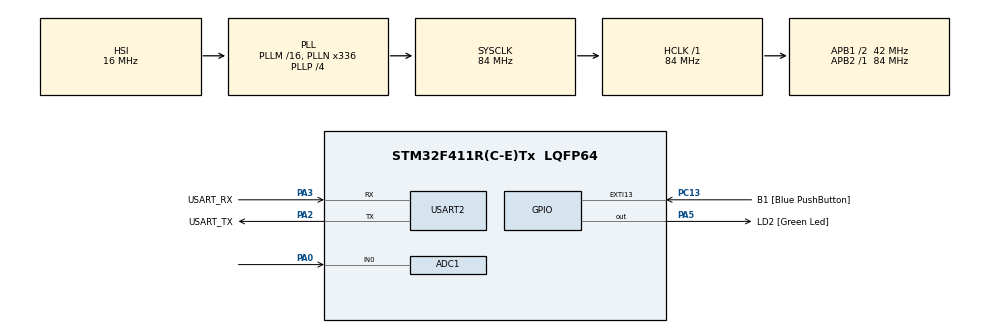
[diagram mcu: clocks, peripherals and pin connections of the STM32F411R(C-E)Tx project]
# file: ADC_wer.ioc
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ADC1.Channel-0\#ChannelRegularConversion=ADC_CHANNEL_0
ADC1.ContinuousConvMode=ENABLE
ADC1.NbrOfConversionFlag=1
ADC1.Rank-0\#ChannelRegularConversion=1
ADC1.SamplingTime-0\#ChannelRegularConversion=ADC_SAMPLETIME_84CYCLES
ADC1.ScanConvMode=ENABLE
ADC1.master=1
Mcu.Family=STM32F4
Mcu.Name=STM32F411R(C-E)Tx
Mcu.Package=LQFP64
NVIC.PriorityGroup=NVIC_PRIORITYGROUP_0
PA0-WKUP.Signal=ADCx_IN0
PA13.GPIO_Label=TMS
PA13.Mode=Serial_Wire
PA13.Signal=SYS_JTMS-SWDIO
PA14.GPIO_Label=TCK
PA14.Mode=Serial_Wire
PA14.Signal=SYS_JTCK-SWCLK
PA2.GPIO_Label=USART_TX
PA2.Mode=Asynchronous
PA2.Signal=USART2_TX
PA3.GPIO_Label=USART_RX
PA3.Mode=Asynchronous
PA3.Signal=USART2_RX
PA5.GPIO_Label=LD2 [Green Led]
PA5.Signal=GPIO_Output
PB3.GPIO_Label=SWO
PB3.Signal=SYS_JTDO-SWO
PC13-ANTI_TAMP.GPIO_Label=B1 [Blue PushButton]
PC13-ANTI_TAMP.GPIO_ModeDefaultEXTI=GPIO_MODE_IT_FALLING
PC13-ANTI_TAMP.Signal=GPXTI13
PC14-OSC32_IN.Mode=LSE-External-Oscillator
PC14-OSC32_IN.Signal=RCC_OSC32_IN
PC15-OSC32_OUT.Mode=LSE-External-Oscillator
PC15-OSC32_OUT.Signal=RCC_OSC32_OUT
PH0\ -\ OSC_IN.Mode=HSE-External-Clock-Source
PH0\ -\ OSC_IN.Signal=RCC_OSC_IN
PH1\ -\ OSC_OUT.Mode=HSE-External-Clock-Source
PH1\ -\ OSC_OUT.Signal=RCC_OSC_OUT
ProjectManager.HeapSize=0x200
ProjectManager.StackSize=0x400
ProjectManager.TargetToolchain=STM32CubeIDE
RCC.48MHZClocksFreq_Value=84000000
RCC.AHBFreq_Value=84000000
RCC.APB1CLKDivider=RCC_HCLK_DIV2
RCC.APB1Freq_Value=42000000
RCC.APB1TimFreq_Value=84000000
RCC.APB2Freq_Value=84000000
RCC.APB2TimFreq_Value=84000000
RCC.CortexFreq_Value=84000000
RCC.FLatency-AdvancedSettings=FLASH_LATENCY_2
RCC.HCLKFreq_Value=84000000
RCC.HSE_VALUE=8000000
RCC.HSI_VALUE=16000000
RCC.PLLN=336
RCC.PLLP=RCC_PLLP_DIV4
RCC.SYSCLKFreq_VALUE=84000000
RCC.SYSCLKSource=RCC_SYSCLKSOURCE_PLLCLK
RCC.VCOOutputFreq_Value=336000000
SH.ADCx_IN0.0=ADC1_IN0,IN0
USART2.VirtualMode=VM_ASYNC
board=NUCLEO-F411RE

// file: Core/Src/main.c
/* USER CODE BEGIN Header */
/**
  ******************************************************************************
  * @file           : main.c
  * @brief          : Main program body
  ******************************************************************************
  * @attention
  *
  * Copyright (c) 2025 STMicroelectronics.
  * All rights reserved.
  *
  * This software is licensed under terms that can be found in the LICENSE file
  * in the root directory of this software component.
  * If no LICENSE file comes with this software, it is provided AS-IS.
  *
  ******************************************************************************
  */
/* USER CODE END Header */
#include "main.h"

/* USER CODE BEGIN Includes */
#include <stdio.h>
#include <string.h>
/* USER CODE END Includes */

/* USER CODE BEGIN PD */
#define WATER_LEVEL_SENSOR_PIN GPIO_PIN_0
#define WATER_LEVEL_SENSOR_PORT GPIOA
#define ADC_CHANNEL ADC_CHANNEL_1
#define ADC_RESOLUTION 4095  // 12-bit ADC
#define VREF 3.3             // Reference voltage
/* USER CODE END PD */

ADC_HandleTypeDef hadc1;

UART_HandleTypeDef huart2;

/* USER CODE BEGIN PV */
char uart_buffer[100];
uint32_t adc_value = 0;
float voltage = 0.0;
float water_level_percentage = 0.0;
/* USER CODE END PV */

void SystemClock_Config(void);
static void MX_GPIO_Init(void);
static void MX_USART2_UART_Init(void);
static void MX_ADC1_Init(void);
/* USER CODE BEGIN PFP */
void WaterLevel_Read(void);
void WaterLevel_Print(void);
/* USER CODE END PFP */

/* USER CODE BEGIN 0 */

/**
  * @brief  물 수위 센서 값 읽기
  * @retval None
  */
void WaterLevel_Read(void)
{
    // ADC 변환 시작
    HAL_ADC_Start(&hadc1);

    // ADC 변환 완료 대기 (타임아웃 100ms)
    if (HAL_ADC_PollForConversion(&hadc1, 100) == HAL_OK)
    {
        // ADC 값 읽기
        adc_value = HAL_ADC_GetValue(&hadc1);

        // 전압으로 변환
        voltage = (float)adc_value * VREF / ADC_RESOLUTION;

        // 물 수위 퍼센트로 변환 (센서 특성에 따라 조정 필요)
        // 일반적으로 물이 많을수록 전압이 높아짐
        water_level_percentage = (voltage / VREF) * 100.0;

        // 범위 제한 (0-100%)
        if (water_level_percentage > 100.0)
            water_level_percentage = 100.0;
        if (water_level_percentage < 0.0)
            water_level_percentage = 0.0;
    }

    // ADC 중지
    HAL_ADC_Stop(&hadc1);
}

/**
  * @brief  물 수위 센서 값 UART로 출력
  * @retval None
  */
void WaterLevel_Print(void)
{
    // UART 버퍼에 데이터 포맷팅
    sprintf(uart_buffer, "ADC Value: %lu\r\n", adc_value);
    HAL_UART_Transmit(&huart2, (uint8_t*)uart_buffer, strlen(uart_buffer), 1000);

    sprintf(uart_buffer, "Voltage: %.2f V\r\n", voltage);
    HAL_UART_Transmit(&huart2, (uint8_t*)uart_buffer, strlen(uart_buffer), 1000);

    sprintf(uart_buffer, "Water Level: %.1f%%\r\n", water_level_percentage);
    HAL_UART_Transmit(&huart2, (uint8_t*)uart_buffer, strlen(uart_buffer), 1000);

    sprintf(uart_buffer, "--------------------------------\r\n");
    HAL_UART_Transmit(&huart2, (uint8_t*)uart_buffer, strlen(uart_buffer), 1000);
}

/* USER CODE END 0 */

int main(void)
{

  /* MCU Configuration--------------------------------------------------------*/

  /* Reset of all peripherals, Initializes the Flash interface and the Systick. */
  HAL_Init();

  /* Configure the system clock */
  SystemClock_Config();

  /* Initialize all configured peripherals */
  MX_GPIO_Init();
  MX_USART2_UART_Init();
  MX_ADC1_Init();
  /* USER CODE BEGIN 2 */

  // 시작 메시지 출력
  sprintf(uart_buffer, "STM32 Water Level Sensor Started\r\n");
  HAL_UART_Transmit(&huart2, (uint8_t*)uart_buffer, strlen(uart_buffer), 1000);
  sprintf(uart_buffer, "Reading water level every 1 second...\r\n\r\n");
  HAL_UART_Transmit(&huart2, (uint8_t*)uart_buffer, strlen(uart_buffer), 1000);

  /* USER CODE END 2 */

  /* Infinite loop */
  while (1)
  {

    /* USER CODE BEGIN 3 */

    // 물 수위 센서 값 읽기
    WaterLevel_Read();

    // 결과 출력
    WaterLevel_Print();

    // 1초 대기
    HAL_Delay(1000);
  }
  /* USER CODE END 3 */
}

void SystemClock_Config(void)
{
  RCC_OscInitTypeDef RCC_OscInitStruct = {0};
  RCC_ClkInitTypeDef RCC_ClkInitStruct = {0};

  /** Configure the main internal regulator output voltage
  */
  __HAL_RCC_PWR_CLK_ENABLE();
  __HAL_PWR_VOLTAGESCALING_CONFIG(PWR_REGULATOR_VOLTAGE_SCALE1);

  /** Initializes the RCC Oscillators according to the specified parameters
  * in the RCC_OscInitTypeDef structure.
  */
  RCC_OscInitStruct.OscillatorType = RCC_OSCILLATORTYPE_HSI;
  RCC_OscInitStruct.HSIState = RCC_HSI_ON;
  RCC_OscInitStruct.HSICalibrationValue = RCC_HSICALIBRATION_DEFAULT;
  RCC_OscInitStruct.PLL.PLLState = RCC_PLL_ON;
  RCC_OscInitStruct.PLL.PLLSource = RCC_PLLSOURCE_HSI;
  RCC_OscInitStruct.PLL.PLLM = 16;
  RCC_OscInitStruct.PLL.PLLN = 336;
  RCC_OscInitStruct.PLL.PLLP = RCC_PLLP_DIV4;
  RCC_OscInitStruct.PLL.PLLQ = 4;
  if (HAL_RCC_OscConfig(&RCC_OscInitStruct) != HAL_OK)
  {
    Error_Handler();
  }

  /** Initializes the CPU, AHB and APB buses clocks
  */
  RCC_ClkInitStruct.ClockType = RCC_CLOCKTYPE_HCLK|RCC_CLOCKTYPE_SYSCLK
                              |RCC_CLOCKTYPE_PCLK1|RCC_CLOCKTYPE_PCLK2;
  RCC_ClkInitStruct.SYSCLKSource = RCC_SYSCLKSOURCE_PLLCLK;
  RCC_ClkInitStruct.AHBCLKDivider = RCC_SYSCLK_DIV1;
  RCC_ClkInitStruct.APB1CLKDivider = RCC_HCLK_DIV2;
  RCC_ClkInitStruct.APB2CLKDivider = RCC_HCLK_DIV1;

  if (HAL_RCC_ClockConfig(&RCC_ClkInitStruct, FLASH_LATENCY_2) != HAL_OK)
  {
    Error_Handler();
  }
}

static void MX_ADC1_Init(void)
{

  ADC_ChannelConfTypeDef sConfig = {0};

  /** Configure the global features of the ADC (Clock, Resolution, Data Alignment and number of conversion)
  */
  hadc1.Instance = ADC1;
  hadc1.Init.ClockPrescaler = ADC_CLOCK_SYNC_PCLK_DIV4;
  hadc1.Init.Resolution = ADC_RESOLUTION_12B;
  hadc1.Init.ScanConvMode = ENABLE;
  hadc1.Init.ContinuousConvMode = ENABLE;
  hadc1.Init.DiscontinuousConvMode = DISABLE;
  hadc1.Init.ExternalTrigConvEdge = ADC_EXTERNALTRIGCONVEDGE_NONE;
  hadc1.Init.ExternalTrigConv = ADC_SOFTWARE_START;
  hadc1.Init.DataAlign = ADC_DATAALIGN_RIGHT;
  hadc1.Init.NbrOfConversion = 1;
  hadc1.Init.DMAContinuousRequests = DISABLE;
  hadc1.Init.EOCSelection = ADC_EOC_SINGLE_CONV;
  if (HAL_ADC_Init(&hadc1) != HAL_OK)
  {
    Error_Handler();
  }

  /** Configure for the selected ADC regular channel its corresponding rank in the sequencer and its sample time.
  */
  sConfig.Channel = ADC_CHANNEL_0;
  sConfig.Rank = 1;
  sConfig.SamplingTime = ADC_SAMPLETIME_84CYCLES;
  if (HAL_ADC_ConfigChannel(&hadc1, &sConfig) != HAL_OK)
  {
    Error_Handler();
  }

}

static void MX_USART2_UART_Init(void)
{

  huart2.Instance = USART2;
  huart2.Init.BaudRate = 115200;
  huart2.Init.WordLength = UART_WORDLENGTH_8B;
  huart2.Init.StopBits = UART_STOPBITS_1;
  huart2.Init.Parity = UART_PARITY_NONE;
  huart2.Init.Mode = UART_MODE_TX_RX;
  huart2.Init.HwFlowCtl = UART_HWCONTROL_NONE;
  huart2.Init.OverSampling = UART_OVERSAMPLING_16;
  if (HAL_UART_Init(&huart2) != HAL_OK)
  {
    Error_Handler();
  }

}

static void MX_GPIO_Init(void)
{
  GPIO_InitTypeDef GPIO_InitStruct = {0};

  /* GPIO Ports Clock Enable */
  __HAL_RCC_GPIOC_CLK_ENABLE();
  __HAL_RCC_GPIOH_CLK_ENABLE();
  __HAL_RCC_GPIOA_CLK_ENABLE();
  __HAL_RCC_GPIOB_CLK_ENABLE();

  /*Configure GPIO pin Output Level */
  HAL_GPIO_WritePin(LD2_GPIO_Port, LD2_Pin, GPIO_PIN_RESET);

  /*Configure GPIO pin : B1_Pin */
  GPIO_InitStruct.Pin = B1_Pin;
  GPIO_InitStruct.Mode = GPIO_MODE_IT_FALLING;
  GPIO_InitStruct.Pull = GPIO_NOPULL;
  HAL_GPIO_Init(B1_GPIO_Port, &GPIO_InitStruct);

  /*Configure GPIO pin : LD2_Pin */
  GPIO_InitStruct.Pin = LD2_Pin;
  GPIO_InitStruct.Mode = GPIO_MODE_OUTPUT_PP;
  GPIO_InitStruct.Pull = GPIO_NOPULL;
  GPIO_InitStruct.Speed = GPIO_SPEED_FREQ_LOW;
  HAL_GPIO_Init(LD2_GPIO_Port, &GPIO_InitStruct);

}

void Error_Handler(void)
{
  __disable_irq();
  while (1)
  {
  }
}
